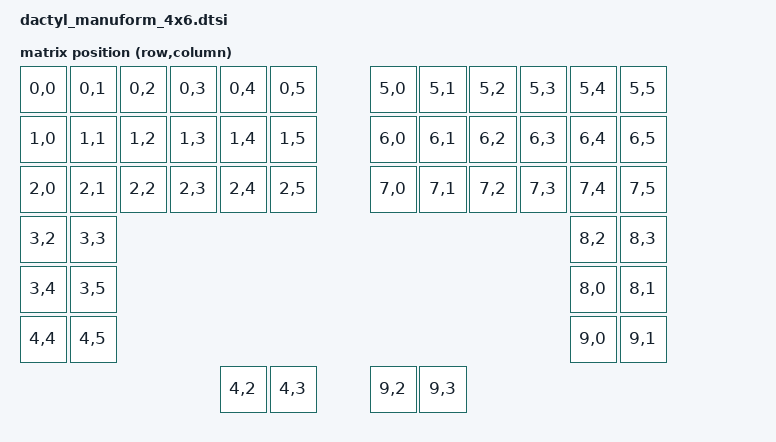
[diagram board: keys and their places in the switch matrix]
#include <dt-bindings/zmk/matrix_transform.h>

/ {
    chosen {
        zmk,kscan = &kscan0;
        zmk,matrix-transform = &default_transform;
    };

    /*
     * 52-key layout. Positions in LAYOUT order (matching QMK info.json):
     *
     *  0.. 5  = left  row 0 (top)
     *  6..11  = right row 0
     * 12..17  = left  row 1
     * 18..23  = right row 1
     * 24..29  = left  row 2
     * 30..35  = right row 2
     * 36..37  = left  corner  (cols 2-3)
     * 38..39  = right corner  (cols 2-3)
     * 40..41  = left  inner thumb (cols 4-5)
     * 42..43  = right inner thumb (cols 0-1)
     * 44..45  = left  outer thumb top (cols 4-5)
     * 46..47  = right outer thumb top (cols 0-1)
     * 48..49  = left  outer thumb bot (cols 2-3)
     * 50..51  = right outer thumb bot (cols 2-3)
     */
    default_transform: keymap_transform_0 {
        compatible = "zmk,matrix-transform";
        columns = <6>;
        rows = <10>;
        map = <
            RC(0,0) RC(0,1) RC(0,2) RC(0,3) RC(0,4) RC(0,5)   RC(5,0) RC(5,1) RC(5,2) RC(5,3) RC(5,4) RC(5,5)
            RC(1,0) RC(1,1) RC(1,2) RC(1,3) RC(1,4) RC(1,5)   RC(6,0) RC(6,1) RC(6,2) RC(6,3) RC(6,4) RC(6,5)
            RC(2,0) RC(2,1) RC(2,2) RC(2,3) RC(2,4) RC(2,5)   RC(7,0) RC(7,1) RC(7,2) RC(7,3) RC(7,4) RC(7,5)
            RC(3,2) RC(3,3)                                     RC(8,2) RC(8,3)
            RC(3,4) RC(3,5)                                     RC(8,0) RC(8,1)
            RC(4,4) RC(4,5)                                     RC(9,0) RC(9,1)
            RC(4,2) RC(4,3)                                     RC(9,2) RC(9,3)
        >;
    };

    kscan0: kscan {
        compatible = "zmk,kscan-gpio-matrix";
        diode-direction = "col2row";
        /* col-gpios and row-gpios defined in per-half overlays */
    };
};
